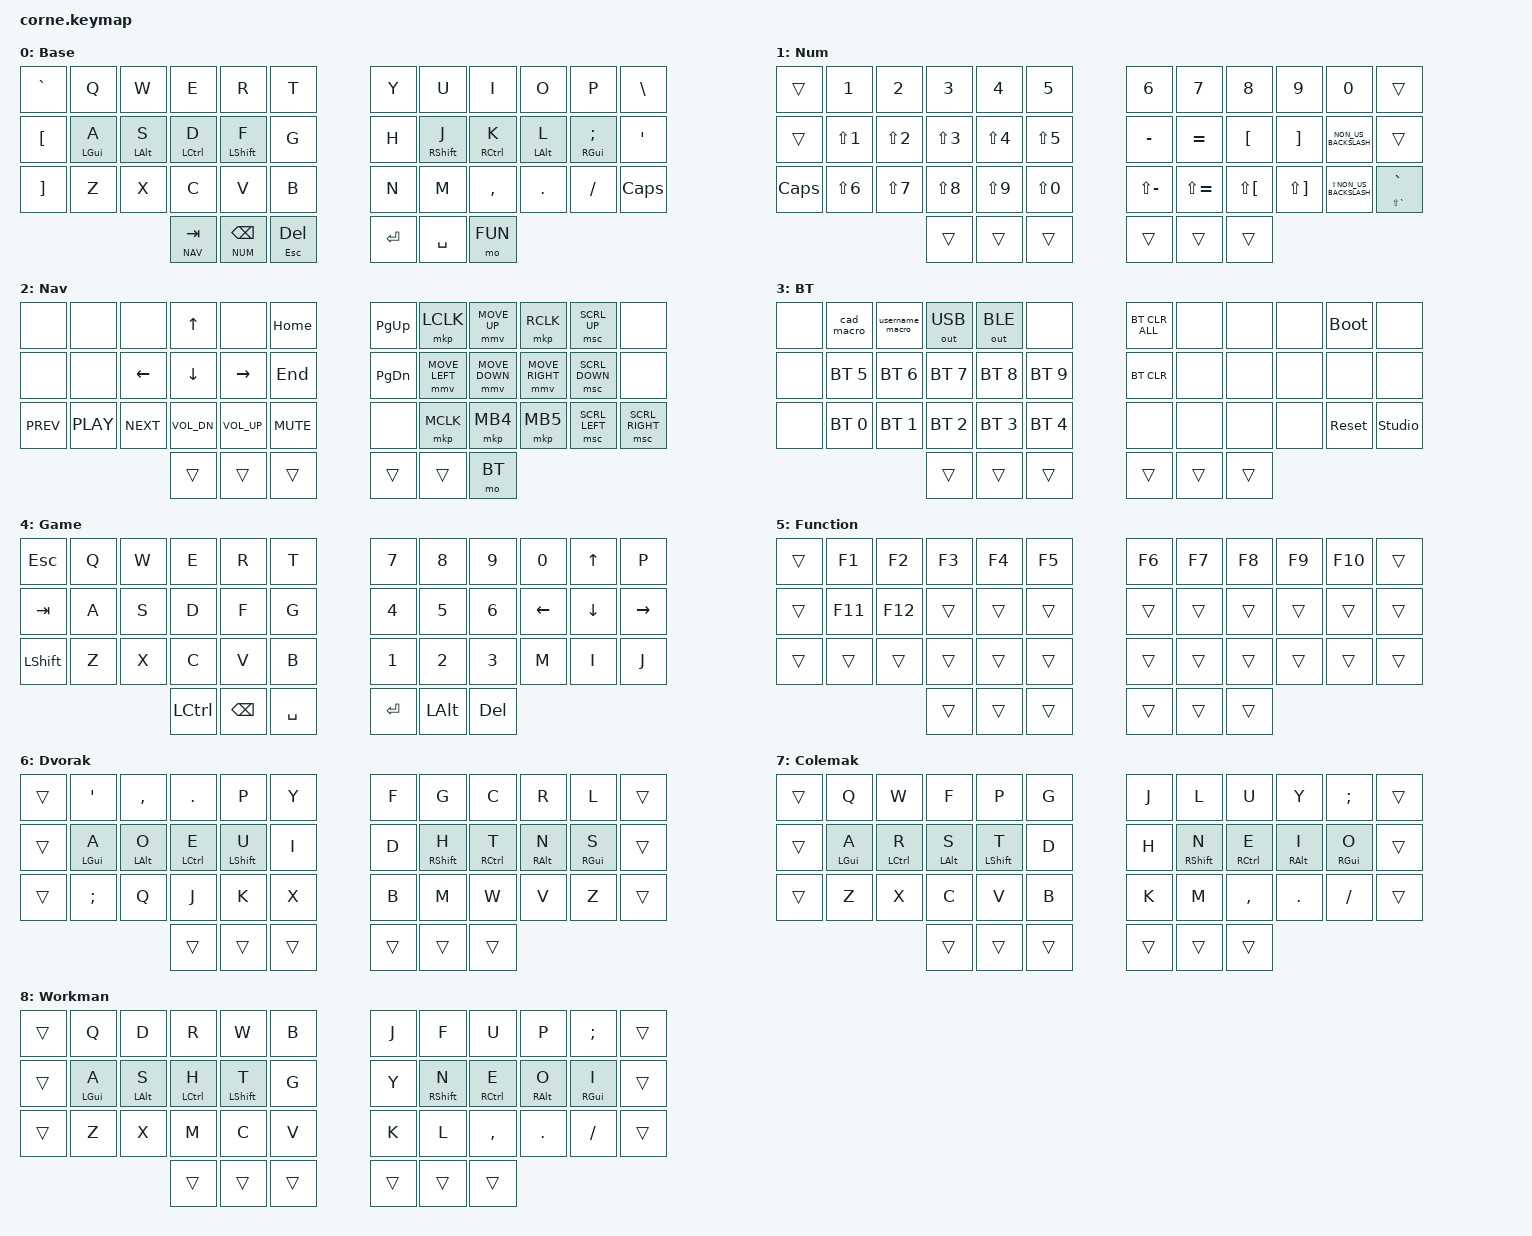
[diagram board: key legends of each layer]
/*
 * Silso Typeractive Wireless Corne — TOTEM workflow port
 * 42-key Corne version with extra outside columns retained.
 *
 * Updated to match current TOTEM dongle workflow:
 * - Same thumb workflow retained:
 *     DEL/ESC | TAB/NAV | BSPC/NUM || SPACE | SHIFT | ENTER
 * - Added current TOTEM-style combos, corrected for Corne 42-key positions:
 *     GAME toggle = left three thumbs: DEL/ESC + TAB/NAV + BSPC/NUM
 *     BT momentary = right three thumbs: SPACE + SHIFT + ENTER
 *     Dvorak toggle = T + Y
 *     Colemak toggle = G + H
 *     Workman toggle = B + N
 * - Added Function, Dvorak, Colemak, and Workman layers
 * - BT layer updated:
 *     Q = Ctrl+Alt+Delete
 *     W = 10.Yojimbo
 *     E = USB output
 *     R = BLE output
 *     Y = clear all pairings
 *     H = clear current profile
 *     P = bootloader
 *     / = sys reset
 *     CAPS = Studio unlock
 */

#include <behaviors.dtsi>
#include <dt-bindings/zmk/keys.h>
#include <dt-bindings/zmk/bt.h>
#include <dt-bindings/zmk/pointing.h>
#include <dt-bindings/zmk/outputs.h>

#define BASE    0
#define NUM     1
#define NAV     2
#define BT      3
#define GAME    4
#define FUN     5
#define DVORAK  6
#define COLEMAK 7
#define WORKMAN 8

&mt {
    quick-tap-ms = <100>;
    global-quick-tap;
    flavor = "tap-preferred";
    tapping-term-ms = <170>;
};

/ {
    macros {
        cad_macro: cad_macro {
            compatible = "zmk,behavior-macro";
            #binding-cells = <0>;
            bindings =
                <&macro_press &kp LCTRL &kp LALT>,
                <&macro_tap &kp DEL>,
                <&macro_release &kp LCTRL &kp LALT>;
        };

        username_macro: username_macro {
            compatible = "zmk,behavior-macro";
            #binding-cells = <0>;
            wait-ms = <40>;
            tap-ms = <40>;
            bindings =
                <&kp N1>,
                <&kp N0>,
                <&kp DOT>,
                <&kp LS(Y)>,
                <&kp O>,
                <&kp J>,
                <&kp I>,
                <&kp M>,
                <&kp B>,
                <&kp O>;
        };

        gif: gif {
            compatible = "zmk,behavior-macro";
            #binding-cells = <0>;
            bindings =
                <&macro_press &kp LSHFT>,
                <&macro_tap &kp N2>,
                <&macro_release &kp LSHFT>,
                <&macro_tap &kp G &kp I &kp F>;
        };
    };

    behaviors {
        hml: homerow_mod_left {
            compatible = "zmk,behavior-hold-tap";
            label = "HML";
            #binding-cells = <2>;
            flavor = "balanced";
            tapping-term-ms = <280>;
            quick-tap-ms = <175>;
            require-prior-idle-ms = <150>;
            bindings = <&kp>, <&kp>;
        };

        hmr: homerow_mod_right {
            compatible = "zmk,behavior-hold-tap";
            label = "HMR";
            #binding-cells = <2>;
            flavor = "balanced";
            tapping-term-ms = <280>;
            quick-tap-ms = <175>;
            require-prior-idle-ms = <150>;
            bindings = <&kp>, <&kp>;
        };
    };

    combos {
        compatible = "zmk,combos";

        /*
         * Corne 42-key position map:
         *
         * Row 1:  0  1  2  3  4  5    6  7  8  9 10 11
         * Row 2: 12 13 14 15 16 17   18 19 20 21 22 23
         * Row 3: 24 25 26 27 28 29   30 31 32 33 34 35
         * Thumb:             36 37 38   39 40 41
         */

        combo_game_toggle {
            timeout-ms = <120>;
            key-positions = <36 37 38>;
            bindings = <&tog GAME>;
        };

        combo_bt_layer {
            timeout-ms = <120>;
            key-positions = <39 40 41>;
            bindings = <&mo BT>;
        };

        combo_dvorak_toggle {
            timeout-ms = <120>;
            key-positions = <5 6>;
            bindings = <&tog DVORAK>;
        };

        combo_colemak_toggle {
            timeout-ms = <120>;
            key-positions = <17 18>;
            bindings = <&tog COLEMAK>;
        };

        combo_workman_toggle {
            timeout-ms = <120>;
            key-positions = <29 30>;
            bindings = <&tog WORKMAN>;
        };
    };

    keymap {
        compatible = "zmk,keymap";

        default_layer {
            display-name = "Base";
// -----------------------------------------------------------------------------------------
// |  ~   |  Q  |  W  |  E  |  R  |  T  |   |  Y  |  U   |  I  |  O  |  P  |   \   |
// |  [   | A/GU| S/AL| D/CT| F/SH|  G  |   |  H  | J/SH | K/CT| L/AL| ;/GU|   '   |
// |  ]   |  Z  |  X  |  C  |  V  |  B  |   |  N  |  M   |  ,  |  .  |  /  | CAPS  |
//                  TAB/NAV | BSPC/NUM | DEL/ESC || ENTER | SPACE | FUNCTION
            bindings = <
&kp GRAVE  &kp Q         &kp W       &kp E        &kp R          &kp T           &kp Y        &kp U          &kp I        &kp O       &kp P          &kp BSLH
&kp LBKT   &hml LGUI A   &hml LALT S &hml LCTRL D &hml LSHIFT F  &kp G           &kp H        &hmr RSHIFT J  &hmr RCTRL K  &hmr LALT L &hmr RGUI SEMI &kp SQT
&kp RBKT   &kp Z         &kp X       &kp C        &kp V          &kp B           &kp N        &kp M          &kp COMMA    &kp DOT     &kp FSLH       &kp CAPS
                                     &lt NAV TAB  &lt NUM BSPC    &mt ESC DEL                  &kp RET      &kp SPACE    &mo FUN
            >;
        };

        lower_layer {
            display-name = "Num";
// -----------------------------------------------------------------------------------------
// |      |  1  |  2  |  3  |  4  |  5  |   |  6  |  7  |  8  |  9  |  0  |      |
// |      |  !  |  @  |  #  |  $  |  %  |   |  -  |  =  |  [  |  ]  |  \  |      |
// | CAPS |  ^  |  &  |  *  |  (  |  )  |   |  _  |  +  |  {  |  }  |  |  |  `   |
//                    |     |     |     |   |     |     |     |
//
// This matches the current Totem dongle NUM layer.
// Extra Corne outer keys are retained:
// - Top-left/top-right and middle-left/middle-right stay transparent.
// - Bottom-left = Caps Lock.
// - Bottom-right = tap Grave, hold Shift+Grave.

            bindings = <
&trans       &kp NUMBER_1      &kp NUMBER_2      &kp NUMBER_3      &kp NUMBER_4      &kp NUMBER_5      &kp NUMBER_6   &kp N7         &kp N8                &kp N9                 &kp NUMBER_0             &trans
&trans       &kp LS(NUMBER_1)  &kp LS(NUMBER_2)  &kp LS(NUMBER_3)  &kp LS(NUMBER_4)  &kp LS(N5)        &kp MINUS      &kp EQUAL      &kp LEFT_BRACKET      &kp RIGHT_BRACKET      &kp NON_US_BACKSLASH     &trans
&kp CAPSLOCK &kp LS(NUMBER_6)  &kp LS(N7)        &kp LS(N8)        &kp LS(N9)        &kp LS(N0)        &kp LS(MINUS)  &kp LS(EQUAL)  &kp LS(LEFT_BRACKET)  &kp LS(RIGHT_BRACKET)  &kp LS(NON_US_BACKSLASH) &mt LS(GRAVE) GRAVE
                                                    &trans            &trans            &trans            &trans         &trans         &trans
            >;
        };
        raise_layer {
            display-name = "Nav";
// -----------------------------------------------------------------------------------------
// |      |     |     |  ↑  |     | HOME|   | PGUP| LCK | MS↑ | RCK | SC↑ |      |
// |      |     |  ←  |  ↓  |  →  | END |   | PGDN| MS← | MS↓ | MS→ | SC↓ |      |
// | PREV |PLAY |NEXT | VDN | VUP |MUTE |   |     | MB3 | MB4 | MB5 | SC← | SC→  |

            bindings = <
&none      &none       &none       &kp UP       &none         &kp HOME     &kp PG_UP     &mkp LCLK       &mmv MOVE_UP     &mkp RCLK        &msc SCRL_UP    &none
&none      &none       &kp LEFT    &kp DOWN     &kp RIGHT     &kp END      &kp PG_DN     &mmv MOVE_LEFT  &mmv MOVE_DOWN   &mmv MOVE_RIGHT  &msc SCRL_DOWN  &none
&kp C_PREV &kp C_PLAY  &kp C_NEXT  &kp C_VOL_DN &kp C_VOL_UP  &kp C_MUTE   &none         &mkp MCLK       &mkp MB4         &mkp MB5         &msc SCRL_LEFT  &msc SCRL_RIGHT
                                                 &trans       &trans       &trans        &trans          &trans           &mo BT
            >;
        };

        bt_layer {
            display-name = "BT";
// -----------------------------------------------------------------------------------------
// |      | C+A+D| USER| USB | BLE |     |   |CLRALL|     |     |     |BOOT |      |
// |      | BT6 | BT7 | BT8 | BT9 | BT10|   | CLR |     |     |     |     |      |
// |      | BT1 | BT2 | BT3 | BT4 | BT5 |   |     |     |     |     |RESET|STUDIO|

            bindings = <
&none      &cad_macro   &username_macro &out OUT_USB  &out OUT_BLE  &none        &bt BT_CLR_ALL &none       &none       &none       &bootloader &none
&none      &bt BT_SEL 5 &bt BT_SEL 6    &bt BT_SEL 7  &bt BT_SEL 8  &bt BT_SEL 9 &bt BT_CLR     &none       &none       &none       &none       &none
&none      &bt BT_SEL 0 &bt BT_SEL 1    &bt BT_SEL 2  &bt BT_SEL 3  &bt BT_SEL 4 &none          &none       &none       &none       &sys_reset  &studio_unlock
                                                  &trans       &trans       &trans         &trans      &trans      &trans
            >;
        };

        game_layer {
            display-name = "Game";
// -----------------------------------------------------------------------------------------
// | ESC |  Q  |  W  |  E  |  R  |  T  |   |  7  |  8  |  9  |  0  |  UP  |  P  |
// | TAB |  A  |  S  |  D  |  F  |  G  |   |  4  |  5  |  6  | LEFT| DOWN |RGHT |
// |SHFT |  Z  |  X  |  C  |  V  |  B  |   |  1  |  2  |  3  |  M  |  I   |  J  |
//                    |CTRL |BSPC |SPACE|   | ENT | ALT | DEL |

            bindings = <
&kp ESC    &kp Q     &kp W     &kp E     &kp R     &kp T       &kp N7    &kp N8    &kp N9    &kp N0     &kp UP     &kp P
&kp TAB    &kp A     &kp S     &kp D     &kp F     &kp G       &kp N4    &kp N5    &kp N6    &kp LEFT   &kp DOWN   &kp RIGHT
&kp LSHFT  &kp Z     &kp X     &kp C     &kp V     &kp B       &kp N1    &kp N2    &kp N3    &kp M      &kp I      &kp J
                      &kp LCTRL &kp BSPC  &kp SPACE             &kp RET   &kp LALT  &kp DEL
            >;
        };

        function_layer {
            display-name = "Function";
// -----------------------------------------------------------------------------------------
// |      | F1 | F2 | F3 | F4 | F5 |   | F6 | F7 | F8 | F9 | F10|      |
// |      | F11| F12|    |    |    |   |    |    |    |    |    |      |
// |      |    |    |    |    |    |   |    |    |    |    |    |      |

            bindings = <
&trans     &kp F1     &kp F2     &kp F3      &kp F4      &kp F5      &kp F6      &kp F7      &kp F8      &kp F9      &kp F10     &trans
&trans     &kp F11    &kp F12    &trans      &trans      &trans      &trans      &trans      &trans      &trans      &trans      &trans
&trans     &trans     &trans     &trans      &trans      &trans      &trans      &trans      &trans      &trans      &trans      &trans
                                                &trans     &trans     &trans      &trans      &trans      &trans
            >;
        };

        dvorak_layer {
            display-name = "Dvorak";
// -----------------------------------------------------------------------------------------
// |      |  '  |  ,  |  .  |  P  |  Y  |   |  F  |  G  |  C  |  R  |  L  |      |
// |      | A/GU| O/AL| E/CT| U/SH|  I  |   |  D  | H/SH| T/CT| N/AL| S/GU|      |
// |      |     |  ;  |  Q  |  J  |  K  |   |  X  |  B  |  M  |  W  |  V  |  Z   |

            bindings = <
&trans     &kp SQT       &kp COMMA     &kp DOT       &kp P          &kp Y          &kp F          &kp G          &kp C          &kp R          &kp L          &trans
&trans     &hml LGUI A   &hml LALT O   &hml LCTRL E  &hml LSHIFT U  &kp I          &kp D          &hmr RSHIFT H  &hmr RCTRL T   &hmr RALT N   &hmr RGUI S   &trans
&trans     &kp SEMI      &kp Q         &kp J         &kp K          &kp X          &kp B          &kp M          &kp W          &kp V          &kp Z          &trans
                                                  &trans       &trans       &trans        &trans      &trans      &trans
            >;
        };

        colemak_layer {
            display-name = "Colemak";
// -----------------------------------------------------------------------------------------
// |      |  Q  |  W  |  F  |  P  |  G  |   |  J  |  L  |  U  |  Y  |  ;  |      |
// |      | A/GU| R/CT| S/AL| T/SH|  D  |   |  H  | N/SH| E/CT| I/AL| O/GU|      |
// |      |     |  Z  |  X  |  C  |  V  |   |  B  |  K  |  M  |  ,  |  .  |  /   |

            bindings = <
&trans     &kp Q         &kp W          &kp F        &kp P          &kp G          &kp J          &kp L          &kp U          &kp Y          &kp SEMI       &trans
&trans     &hml LGUI A   &hml LCTRL R   &hml LALT S  &hml LSHIFT T  &kp D          &kp H          &hmr RSHIFT N  &hmr RCTRL E   &hmr RALT I   &hmr RGUI O   &trans
&trans     &kp Z         &kp X          &kp C        &kp V          &kp B          &kp K          &kp M          &kp COMMA      &kp DOT        &kp FSLH       &trans
                                                  &trans       &trans       &trans        &trans      &trans      &trans
            >;
        };

        workman_layer {
            display-name = "Workman";
// -----------------------------------------------------------------------------------------
// |      |  Q  |  D  |  R  |  W  |  B  |   |  J  |  F  |  U  |  P  |  ;  |      |
// |      | A/GU| S/AL| H/CT| T/SH|  G  |   |  Y  | N/SH| E/CT| O/AL| I/GU|      |
// |      |     |  Z  |  X  |  M  |  C  |   |  V  |  K  |  L  |  ,  |  .  |  /   |

            bindings = <
&trans     &kp Q         &kp D         &kp R         &kp W          &kp B          &kp J          &kp F          &kp U          &kp P          &kp SEMI       &trans
&trans     &hml LGUI A   &hml LALT S   &hml LCTRL H  &hml LSHIFT T  &kp G          &kp Y          &hmr RSHIFT N  &hmr RCTRL E   &hmr RALT O   &hmr RGUI I   &trans
&trans     &kp Z         &kp X         &kp M         &kp C          &kp V          &kp K          &kp L          &kp COMMA      &kp DOT        &kp FSLH       &trans
                                                  &trans       &trans       &trans        &trans      &trans      &trans
            >;
        };
    };
};
